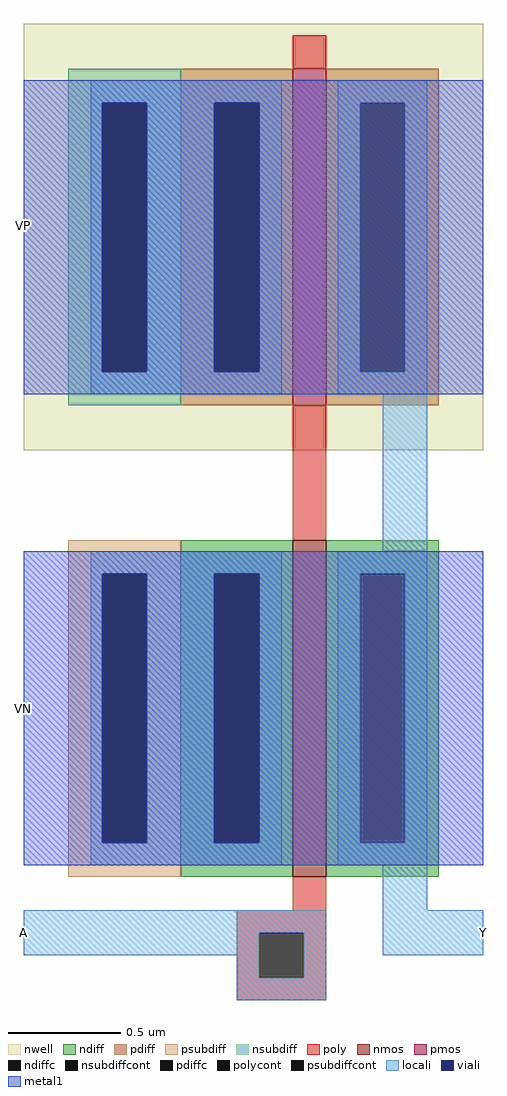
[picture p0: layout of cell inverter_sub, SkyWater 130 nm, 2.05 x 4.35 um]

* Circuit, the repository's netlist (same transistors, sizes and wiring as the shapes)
* SPICE3 file created from inverter_sub.ext - technology: sky130A

X0 Y A VN VN sky130_fd_pr__nfet_01v8 ad=0p pd=0u as=0p ps=0u w=1.5e+06u l=150000u
X1 Y A VP VP sky130_fd_pr__pfet_01v8 ad=0p pd=0u as=0p ps=0u w=1.5e+06u l=150000u

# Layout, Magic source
magic
tech sky130A
<< nwell >>
rect -210 -25 -5 165
<< nmos >>
rect -90 -215 -75 -65
<< pmos >>
rect -90 -5 -75 145
<< ndiff >>
rect -140 -80 -90 -65
rect -140 -200 -125 -80
rect -105 -200 -90 -80
rect -140 -215 -90 -200
rect -75 -80 -25 -65
rect -75 -200 -60 -80
rect -40 -200 -25 -80
rect -75 -215 -25 -200
<< pdiff >>
rect -140 130 -90 145
rect -140 10 -125 130
rect -105 10 -90 130
rect -140 -5 -90 10
rect -75 130 -25 145
rect -75 10 -60 130
rect -40 10 -25 130
rect -75 -5 -25 10
<< ndiffc >>
rect -125 -200 -105 -80
rect -60 -200 -40 -80
<< pdiffc >>
rect -125 10 -105 130
rect -60 10 -40 130
<< psubdiff >>
rect -190 -80 -140 -65
rect -190 -200 -175 -80
rect -155 -200 -140 -80
rect -190 -215 -140 -200
<< nsubdiff >>
rect -190 130 -140 145
rect -190 10 -175 130
rect -155 10 -140 130
rect -190 -5 -140 10
<< psubdiffcont >>
rect -175 -200 -155 -80
<< nsubdiffcont >>
rect -175 10 -155 130
<< poly >>
rect -90 145 -75 160
rect -90 -65 -75 -5
rect -90 -230 -75 -215
rect -115 -240 -75 -230
rect -115 -260 -105 -240
rect -85 -260 -75 -240
rect -115 -270 -75 -260
<< polycont >>
rect -105 -260 -85 -240
<< locali >>
rect -180 130 -95 140
rect -180 10 -175 130
rect -155 10 -125 130
rect -105 10 -95 130
rect -180 0 -95 10
rect -70 130 -30 140
rect -70 10 -60 130
rect -40 10 -30 130
rect -70 0 -30 10
rect -50 -70 -30 0
rect -180 -80 -95 -70
rect -180 -200 -175 -80
rect -155 -200 -125 -80
rect -105 -200 -95 -80
rect -180 -210 -95 -200
rect -70 -80 -30 -70
rect -70 -200 -60 -80
rect -40 -200 -30 -80
rect -70 -210 -30 -200
rect -50 -230 -30 -210
rect -210 -240 -75 -230
rect -210 -250 -105 -240
rect -115 -260 -105 -250
rect -85 -260 -75 -240
rect -50 -250 -5 -230
rect -115 -270 -75 -260
<< viali >>
rect -175 10 -155 130
rect -125 10 -105 130
rect -175 -200 -155 -80
rect -125 -200 -105 -80
<< metal1 >>
rect -210 130 -5 140
rect -210 10 -175 130
rect -155 10 -125 130
rect -105 10 -5 130
rect -210 0 -5 10
rect -210 -80 -5 -70
rect -210 -200 -175 -80
rect -155 -200 -125 -80
rect -105 -200 -5 -80
rect -210 -210 -5 -200
<< labels >>
rlabel locali -5 -240 -5 -240 3 Y
port 2 e
rlabel locali -210 -240 -210 -240 7 A
port 1 w
rlabel metal1 -210 75 -210 75 7 VP
port 3 w
rlabel metal1 -210 -140 -210 -140 7 VN
port 4 w
<< end >>
